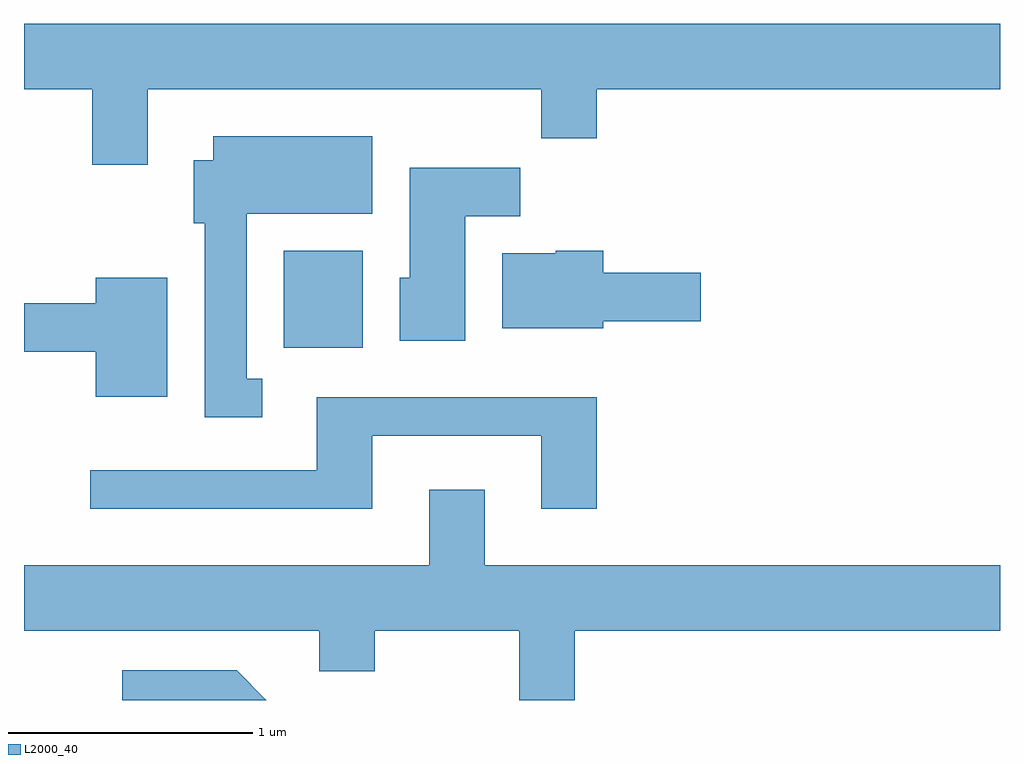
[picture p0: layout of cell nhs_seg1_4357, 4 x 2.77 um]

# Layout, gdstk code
import gdstk
lib = gdstk.Library(unit=1e-6, precision=1e-09)
def R(c, l, rs):  # rectangles x0, y0, x1, y1
    for r in rs: c.add(gdstk.rectangle(r[:2], r[2:], *l))
def P(c, l, *ps):  # polygons
    for p in ps: c.add(gdstk.Polygon(p, *l))
L2000_40 = (2000, 40)

nhs_seg1_4357 = lib.new_cell('nhs_seg1_4357')
R(nhs_seg1_4357, L2000_40, [(316.676,925.156,316.999,925.554)])
P(nhs_seg1_4357, L2000_40, [(316.119,926.216),(317.731,926.216),(317.731,926.016),(317.959,926.016),(317.959,926.216),(319.611,926.216),(319.611,926.484),(315.611,926.484),(315.611,926.216),(315.891,926.216),(315.891,925.906),(316.119,925.906)],
  [(316.588,925.029),(316.524,925.029),(316.524,925.706),(317.039,925.706),(317.039,926.024),(316.386,926.024),(316.386,925.924),(316.306,925.924),(316.306,925.666),(316.351,925.666),(316.351,924.871),(316.588,924.871)],
  [(317.419,925.696),(317.644,925.696),(317.644,925.894),(317.191,925.894),(317.191,925.444),(317.151,925.444),(317.151,925.186),(317.419,925.186)],
  [(317.984,925.266),(318.384,925.266),(318.384,925.464),(317.984,925.464),(317.984,925.554),(317.79,925.554),(317.79,925.544),(317.571,925.544),(317.571,925.236),(317.984,925.236)],
  [(316.199,925.444),(315.906,925.444),(315.906,925.339),(315.611,925.339),(315.611,925.141),(315.906,925.141),(315.906,924.956),(316.199,924.956)],
  [(317.039,924.796),(317.731,924.796),(317.731,924.496),(317.959,924.496),(317.959,924.954),(316.811,924.954),(316.811,924.654),(315.883,924.654),(315.883,924.496),(317.039,924.496)],
  [(317.869,923.996),(319.611,923.996),(319.611,924.264),(317.499,924.264),(317.499,924.574),(317.271,924.574),(317.271,924.264),(315.611,924.264),(315.611,923.996),(316.821,923.996),(316.821,923.831),(317.049,923.831),(317.049,923.996),(317.641,923.996),(317.641,923.712),(317.869,923.712)],
  [(316.482,923.834),(316.013,923.834),(316.013,923.712),(316.604,923.712)])

lib.write_gds('nhs_seg1_4357.gds')
